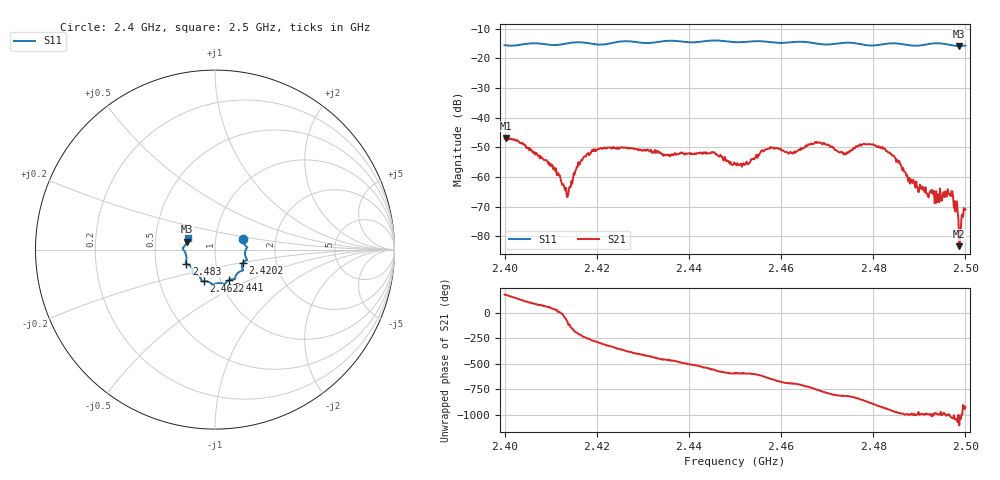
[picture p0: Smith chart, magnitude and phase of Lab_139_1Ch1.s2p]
# Hz S RI R 50
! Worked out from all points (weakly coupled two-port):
!   601 points, 2.4 GHz to 2.5 GHz, reference 50 ohm
!   highest |S21| = -46.82 dB at 2.4003 GHz (marker M1); lowest = -83.3 dB at 2.4987 GHz (marker M2)
!   lowest |S11| = -15.8 dB at 2.4987 GHz (marker M3), VSWR 1.39, Z = 36.4 + j3.34 ohm
!   |S11| at or under -10 dB: start of sweep to end of sweep
!   S12 and S22 are empty: the file has one direction only
!   S11 on the Smith chart (normalised r, x): 2.4 GHz: 1.36, +0.17; 2.4202 GHz: 1.35, -0.20; 2.441 GHz: 1.09, -0.39; 2.4622 GHz: 0.83, -0.30; 2.483 GHz: 0.72, -0.12; 2.5 GHz: 0.73, +0.09
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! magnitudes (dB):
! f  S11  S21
! 2.4 GHz  -15.5  -47.1
! 2.4003 GHz  -15.6  -46.8
! 2.4092 GHz  -15.3  -54.6
! 2.4135 GHz  -14.9  -66.7
! 2.4167 GHz  -14.6  -54.3
! 2.4202 GHz  -15.3  -50.6
! 2.4333 GHz  -14.4  -51.7
! 2.441 GHz  -14.6  -52.2
! 2.4453 GHz  -13.9  -51.7
! 2.45 GHz  -14.5  -55.4
! 2.4577 GHz  -14.5  -49.9
! 2.4622 GHz  -14.5  -51.9
! 2.4667 GHz  -14.7  -49.0
! 2.4738 GHz  -14.7  -52.1
! 2.4782 GHz  -15.5  -49.0
! 2.483 GHz  -15.0  -51.2
! 2.4833 GHz  -15.0  -51.7
! 2.4895 GHz  -15.7  -63.4
! 2.4938 GHz  -14.9  -68.7
! 2.4967 GHz  -15.4  -66.2
! 2.4987 GHz  -15.8  -83.3
! 2.5 GHz  -15.6  -71.0
